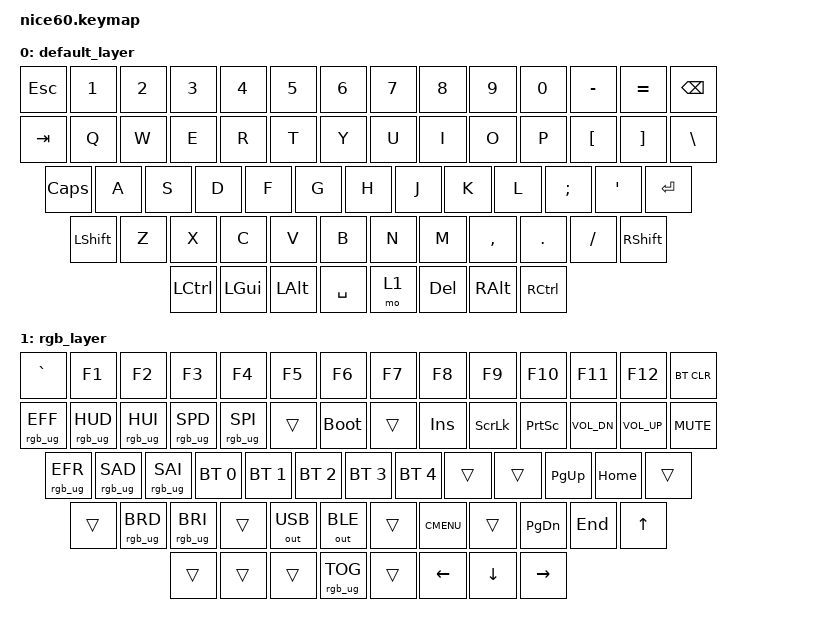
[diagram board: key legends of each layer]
/*
 * Copyright (c) 2021 Nick Winans
 *
 * SPDX-License-Identifier: MIT
 */

#include <behaviors.dtsi>
#include <dt-bindings/zmk/keys.h>
#include <dt-bindings/zmk/rgb.h>
#include <dt-bindings/zmk/bt.h>
#include <dt-bindings/zmk/outputs.h>
#include <dt-bindings/zmk/reset.h>
#include <dt-bindings/zmk/ext_power.h>

/ {
	keymap {
		compatible = "zmk,keymap";
		
		default_layer {
// ------------------------------------------------------------------------------------------
// | ESC |  1  |  2  |  3  |  4  |  5  |  6  |  7  |  8  |  9  |  0  |  -  |  =  |   BKSP   |
// | TAB  |  Q  |  W  |  E  |  R  |  T  |  Y  |  U  |  I  |  O  |  P  |  [  |  ]  |   "|"   |
// | CAPS  |  A  |  S  |  D  |  F  |  G  |  H  |  J  |  K  |  L  |  ;  |  '  |     ENTER    |
// |  SHIFT  |  Z  |  X  |  C  |  V  |  B  |  N  |  M  |  ,  |  .  |  /  |      SHIFT       |
// |  CTL  |  WIN  |  ALT  |            SPACE              |  MO(1)  |  DEL  |  ALT |  CTL  |
// ------------------------------------------------------------------------------------------
			bindings = <
	&kp ESC &kp N1 &kp N2 &kp N3 &kp N4 &kp N5 &kp N6 &kp N7 &kp N8 &kp N9 &kp N0 &kp MINUS &kp EQUAL  &kp BSPC
	&kp TAB  &kp Q  &kp W  &kp E  &kp R  &kp T  &kp Y  &kp U  &kp I  &kp O  &kp P  &kp LBKT  &kp RBKT  &kp BSLH
	&kp CLCK  &kp A  &kp S  &kp D  &kp F  &kp G  &kp H  &kp J  &kp K  &kp L  &kp SEMI &kp SQT           &kp RET
	&kp LSHFT   &kp Z  &kp X  &kp C  &kp V  &kp B  &kp N  &kp M  &kp COMMA &kp DOT &kp FSLH           &kp RSHFT
	&kp LCTRL &kp LGUI &kp LALT             &kp SPACE                   &mo 1  &kp DEL  &kp RALT  &kp RCTRL
			>;
		};

		rgb_layer {
// ------------------------------------------------------------------------------------------------------
// |  ~  |  F1  |  F2  |  F3  |  F4  |  F5  |  F6  | F7 |  F8  |  F9  |  F10  |  F11  |  F12  |  BT_CLR |
// | RGB UP | HUEDN | HUEUP | SPDDN | SPDUP |   | BOOT |   | INS | SLCK | PSCRN | VOLDN | VOLUP |  MUTE |
// |   RGB DN  | SATDN | SATUP | BT1 | BT2 | BT3 | BT4 | BT5 |     |     | PGUP | HOME |                |
// |            | BRIDN | BRIUP |     | prefUSB | prefBLE |     | MENU |     | PGDN | END |      UP     |
// |      |      |      |                   TOG RGB                   |      |   LT   |   DN   |   RT   |
// ------------------------------------------------------------------------------------------------------
			bindings = <
	&kp GRAVE &kp F1 &kp F2 &kp F3 &kp F4 &kp F5 &kp F6 &kp F7 &kp F8 &kp F9 &kp F10 &kp F11 &kp F12 &bt BT_CLR
	&rgb_ug RGB_EFF &rgb_ug RGB_HUD &rgb_ug RGB_HUI &rgb_ug RGB_SPD &rgb_ug RGB_SPI &trans &bootloader &trans &kp INS &kp SLCK &kp PSCRN &kp C_VOL_DN &kp C_VOL_UP &kp C_MUTE 
	&rgb_ug RGB_EFR &rgb_ug RGB_SAD &rgb_ug RGB_SAI &bt BT_SEL 0 &bt BT_SEL 1 &bt BT_SEL 2 &bt BT_SEL 3 &bt BT_SEL 4 &trans &trans &kp PG_UP &kp HOME &trans
	&trans &rgb_ug RGB_BRD &rgb_ug RGB_BRI &trans &out OUT_USB &out OUT_BLE &trans &kp K_CMENU &trans &kp PG_DN &kp END &kp UP
	&trans &trans &trans  &rgb_ug RGB_TOG  &trans &kp LEFT &kp DOWN &kp RIGHT
			>;
		};
	};
};
